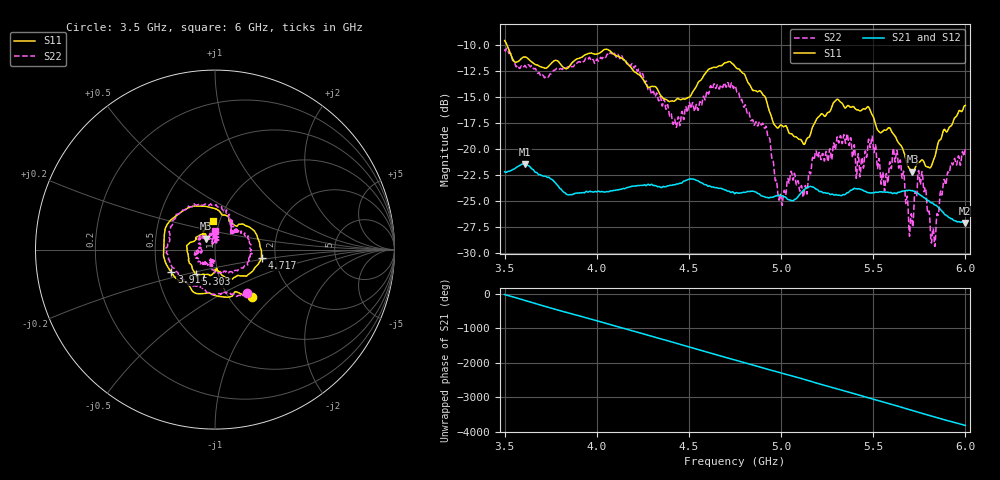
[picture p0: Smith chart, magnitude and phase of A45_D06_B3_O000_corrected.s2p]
! Created with skrf 1.9.0 (http://scikit-rf.org).
# Hz S RI R 50.0
!freq ReS11 ImS11 ReS21 ImS21 ReS12 ImS12 ReS22 ImS22
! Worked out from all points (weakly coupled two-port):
!   1601 points, 3.5 GHz to 6 GHz, reference 50 ohm
!   highest |S21| = -21.43 dB at 3.609 GHz (marker M1); lowest = -27.1 dB at 5.997 GHz (marker M2)
!   lowest |S11| = -22.2 dB at 5.713 GHz (marker M3), VSWR 1.17, Z = 45.1 + j5.53 ohm
!   |S11| at or under -10 dB: 3.513 GHz to end of sweep
!   |S22| runs from -29.3 to -10.3 dB; largest |S21 - S12| = 0.00096
!   S11 on the Smith chart (normalised r, x): 3.5 GHz: 1.27, -0.75; 3.914 GHz: 0.59, -0.16; 4.717 GHz: 1.69, -0.16; 5.303 GHz: 0.78, -0.22; 6 GHz: 0.93, +0.31
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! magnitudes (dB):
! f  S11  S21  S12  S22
! 3.5 GHz  -9.6  -22.2  -22.2  -10.4
! 3.609 GHz  -11.2  -21.4  -21.4  -12.0
! 3.914 GHz  -11.2  -24.2  -24.2  -11.6
! 3.917 GHz  -11.2  -24.2  -24.2  -11.6
! 4.125 GHz  -11.2  -23.9  -23.9  -11.3
! 4.334 GHz  -14.5  -23.6  -23.6  -15.3
! 4.423 GHz  -15.4  -23.4  -23.4  -17.2
! 4.717 GHz  -11.6  -24.0  -24.1  -14.0
! 4.75 GHz  -12.1  -24.3  -24.2  -13.9
! 4.927 GHz  -15.8  -24.6  -24.6  -18.7
! 4.997 GHz  -17.7  -24.5  -24.4  -24.3
! 5.167 GHz  -18.1  -23.6  -23.6  -21.3
! 5.303 GHz  -15.2  -24.4  -24.4  -18.9
! 5.486 GHz  -16.4  -24.2  -24.2  -19.7
! 5.584 GHz  -18.0  -24.2  -24.1  -22.3
! 5.636 GHz  -19.4  -24.2  -24.1  -21.6
! 5.713 GHz  -22.2  -24.0  -23.9  -27.3
! 5.756 GHz  -21.2  -24.4  -24.4  -23.4
! 5.827 GHz  -21.1  -25.3  -25.2  -27.8
! 5.875 GHz  -18.6  -26.0  -25.9  -24.2
! 5.997 GHz  -15.8  -27.1  -27.0  -20.3
! 6 GHz  -15.8  -27.1  -27.0  -19.8
